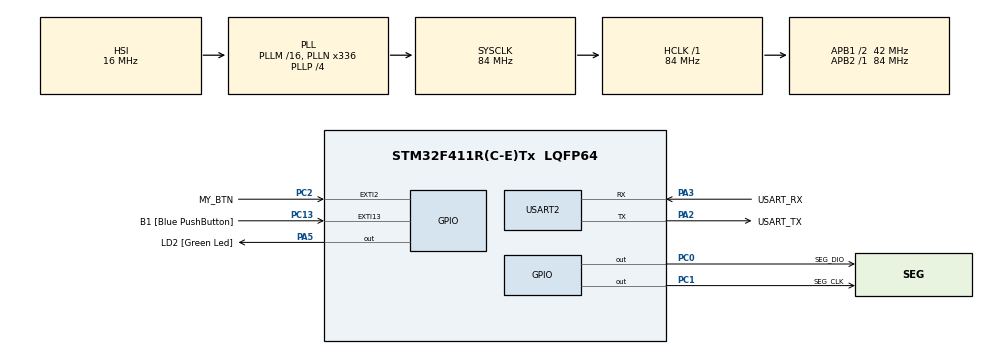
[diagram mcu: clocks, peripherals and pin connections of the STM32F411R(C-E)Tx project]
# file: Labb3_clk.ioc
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Mcu.Family=STM32F4
Mcu.Name=STM32F411R(C-E)Tx
Mcu.Package=LQFP64
NVIC.EXTI15_10_IRQn=true\:0\:0\:false\:false\:true\:true\:true\:true
NVIC.EXTI2_IRQn=true\:0\:0\:false\:false\:true\:true\:true\:true
NVIC.PriorityGroup=NVIC_PRIORITYGROUP_0
NVIC.TIM3_IRQn=true\:0\:0\:false\:false\:true\:true\:true\:true
PA13.GPIO_Label=TMS
PA13.Mode=Serial_Wire
PA13.Signal=SYS_JTMS-SWDIO
PA14.GPIO_Label=TCK
PA14.Mode=Serial_Wire
PA14.Signal=SYS_JTCK-SWCLK
PA2.GPIO_Label=USART_TX
PA2.Mode=Asynchronous
PA2.Signal=USART2_TX
PA3.GPIO_Label=USART_RX
PA3.Mode=Asynchronous
PA3.Signal=USART2_RX
PA5.GPIO_Label=LD2 [Green Led]
PA5.Signal=GPIO_Output
PB3.GPIO_Label=SWO
PB3.Signal=SYS_JTDO-SWO
PC0.GPIO_Label=SEG_DIO
PC0.GPIO_ModeDefaultOutputPP=GPIO_MODE_OUTPUT_OD
PC0.GPIO_PuPd=GPIO_NOPULL
PC0.Signal=GPIO_Output
PC1.GPIO_Label=SEG_CLK
PC1.GPIO_ModeDefaultOutputPP=GPIO_MODE_OUTPUT_OD
PC1.GPIO_PuPd=GPIO_NOPULL
PC1.Signal=GPIO_Output
PC13-ANTI_TAMP.GPIO_Label=B1 [Blue PushButton]
PC13-ANTI_TAMP.GPIO_ModeDefaultEXTI=GPIO_MODE_IT_FALLING
PC13-ANTI_TAMP.Signal=GPXTI13
PC14-OSC32_IN.Mode=LSE-External-Oscillator
PC14-OSC32_IN.Signal=RCC_OSC32_IN
PC15-OSC32_OUT.Mode=LSE-External-Oscillator
PC15-OSC32_OUT.Signal=RCC_OSC32_OUT
PC2.GPIO_Label=MY_BTN
PC2.GPIO_ModeDefaultEXTI=GPIO_MODE_IT_FALLING
PC2.GPIO_PuPd=GPIO_NOPULL
PC2.Signal=GPXTI2
PH0\ -\ OSC_IN.Mode=HSE-External-Clock-Source
PH0\ -\ OSC_IN.Signal=RCC_OSC_IN
PH1\ -\ OSC_OUT.Mode=HSE-External-Clock-Source
PH1\ -\ OSC_OUT.Signal=RCC_OSC_OUT
ProjectManager.HeapSize=0x200
ProjectManager.StackSize=0x400
ProjectManager.TargetToolchain=STM32CubeIDE
RCC.48MHZClocksFreq_Value=84000000
RCC.AHBFreq_Value=84000000
RCC.APB1CLKDivider=RCC_HCLK_DIV2
RCC.APB1Freq_Value=42000000
RCC.APB1TimFreq_Value=84000000
RCC.APB2Freq_Value=84000000
RCC.APB2TimFreq_Value=84000000
RCC.CortexFreq_Value=84000000
RCC.FLatency-AdvancedSettings=FLASH_LATENCY_2
RCC.HCLKFreq_Value=84000000
RCC.HSE_VALUE=8000000
RCC.HSI_VALUE=16000000
RCC.PLLN=336
RCC.PLLP=RCC_PLLP_DIV4
RCC.SYSCLKFreq_VALUE=84000000
RCC.SYSCLKSource=RCC_SYSCLKSOURCE_PLLCLK
RCC.VCOOutputFreq_Value=336000000
TIM3.Period=42000-1
TIM3.Prescaler=1000-1
USART2.VirtualMode=VM_ASYNC
VP_TIM3_VS_ClockSourceINT.Mode=Internal
board=NUCLEO-F411RE

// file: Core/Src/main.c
/* USER CODE BEGIN Header */
/**
  ******************************************************************************
  * @file           : main.c
  * @brief          : Main program body
  ******************************************************************************
  * @attention
  *
  * Copyright (c) 2023 STMicroelectronics.
  * All rights reserved.
  *
  * This software is licensed under terms that can be found in the LICENSE file
  * in the root directory of this software component.
  * If no LICENSE file comes with this software, it is provided AS-IS.
  *
  ******************************************************************************
  */
/* USER CODE END Header */
#include "main.h"

/* USER CODE BEGIN Includes */
#include <stdio.h>
#include <string.h>
#include "quad_sseg.h"
#include <stdbool.h>
/* USER CODE END Includes */

TIM_HandleTypeDef htim3;

UART_HandleTypeDef huart2;

/* USER CODE BEGIN PV */
// Function prototypes
void updateClock();
void updateDisplay();
void handleRollovers();

uint16_t button_exti_count;
uint16_t button_debounced_count;
uint16_t unhandled_exti;

uint8_t hours = 23;
uint8_t minutes = 59;
uint8_t seconds = 23;

int display_hours_minutes = 0; // Flag for display mode (0: MM:SS, 1 HH:MM)

//Time counter
//uint16_t timeCounter = 0;

//Flag for colon blinking
uint8_t colonOn = 0;
uint8_t hoursTens ;       // Hours (24-hour format)
uint8_t hoursOnes;
uint8_t minutesTens ;   // Minutes (modulo 60)
uint8_t minutesOnes ;
uint8_t secondsTens;   // Seconds (modulo 60)
uint8_t secondsOnes ;

TIM_HandleTypeDef htm;
/* USER CODE END PV */

void SystemClock_Config(void);
static void MX_GPIO_Init(void);
static void MX_USART2_UART_Init(void);
static void MX_TIM3_Init(void);

/* USER CODE BEGIN 0 */

void uart_print_menu(){
	    char menu_str[100];

	    sprintf(menu_str,
            "Choose the menu:\r\n"
	    	"1. Clock mode:\r\n"
	        "2. Button mode:\r\n");

	    HAL_UART_Transmit(&huart2, (uint8_t*) menu_str, strlen(menu_str), HAL_MAX_DELAY);
}

int uart_get_menu_choice()
{
	char str[1];
	uint16_t str_len = 1;
	HAL_UART_Receive(&huart2,(uint8_t *) str, str_len,HAL_MAX_DELAY);
	int ret = -1;
	sscanf(str, "%d", &ret);

	return ret;
}

void uart_print_bad_choice()
{
	char bad_choice_str[]="Felaktig inmatning. Vänligen välj ett giltigt alternativ 1 eller 2.\r\n";
	HAL_UART_Transmit(&huart2, (uint8_t*)bad_choice_str, sizeof(bad_choice_str) - 1, HAL_MAX_DELAY);
}

void clock_mode()
{
	/*** init segment ***/
	/*** main loop ***/
	HAL_TIM_Base_Start_IT(&htim3);

	 hours = 23;
	 minutes = 59;
	 seconds = 45;

	while (1)
	{
		 // Update your clock variables based on TIM3 interrupts
		        // ...

		// Check if the blue button is held down to switch display mode
		if(GPIO_PIN_RESET == HAL_GPIO_ReadPin(B1_GPIO_Port, B1_Pin)){
			display_hours_minutes = 1;   //Swithch to HH:MM
		}
		else{
			display_hours_minutes = 0; // Back to MM:SS mode
		}
		updateDisplay();

	}
}

void button_mode()
{
	/*** init segment ***/

	/*** main loop ***/

	int b1_pressed;
	int pressed;
	while (1)
	{
		/* deal with debouncing the button... */

		// check b1 button (on board, active low)
		b1_pressed = GPIO_PIN_RESET== HAL_GPIO_ReadPin(B1_GPIO_Port, B1_Pin);

		if (unhandled_exti) // was set in interrupt
		{
			uint16_t BOUNCE_DELAY_MS = 10;
			HAL_Delay(BOUNCE_DELAY_MS); // value measured by probing
			pressed = GPIO_PIN_RESET == HAL_GPIO_ReadPin(MY_BTN_GPIO_Port, MY_BTN_Pin);
				if (pressed)
				{
					button_debounced_count++;

				}
			unhandled_exti = 0;
		}

		if(b1_pressed){
			qs_put_big_num(button_exti_count, 0);

		}
		else{
			qs_put_big_num(button_debounced_count, 0);

		}
	}

}

//#define MY_BTN_Pin GPIO_PIN_2
//#define MY_BTN_GPIO_Port GPIOC

void HAL_GPIO_EXTI_Callback( uint16_t GPIO_Pin )
{
	if(GPIO_Pin ==  MY_BTN_Pin)
	{
		button_exti_count++;
		unhandled_exti = 1;
	}

}

void HAL_TIM_PeriodElapsedCallback(TIM_HandleTypeDef *htim)
{

	if(htim->Instance == TIM3){
		//This function will be called every half-second
		// Update your clock variables here
		//...
		colonOn = !colonOn;
		if(colonOn == 1){
		seconds++;
		}
	}
}

void updateClock(){
	//seconds++;        //Incriment seconds
	handleRollovers();  // Handle rollovers
}

//Function to hanle rollovers

void handleRollovers()
{
	if(seconds >= 60)
	{
		seconds = 0;
		minutes++;
		if(minutes >= 60)
		{
			minutes = 0;
			hours++;
			if(hours >= 24)
			{
				hours = 0;
			}
		}
	}
}

void updateDisplay()
{
	// Toggle colon every half seconde

	// Detrmain whether to diplay HH:MM or MM:SS
	updateClock();

	 hoursTens = (hours % 24) / 10;       // Hours (24-hour format)
	 hoursOnes = (hours % 24) % 10;
	 minutesTens = (minutes % 60) / 10;   // Minutes (modulo 60)
	 minutesOnes = (minutes % 60) % 10;
	 secondsTens = (seconds % 60) / 10;   // Seconds (modulo 60)
	 secondsOnes = (seconds % 60) % 10;

	if(display_hours_minutes)
	{
		//qs_put_big_num((uint16_t)(hours * 100 + minutes), colonOn);
        qs_put_digits(hoursTens, hoursOnes, minutesTens, minutesOnes, colonOn);
	}
	else
	{
		//qs_put_big_num((uint16_t)(hours * 100 + minutes), colonOn);
        qs_put_digits(minutesTens, minutesOnes, secondsTens, secondsOnes, colonOn);
	}
}

/* USER CODE END 0 */

int main(void)
{

  /* MCU Configuration--------------------------------------------------------*/

  /* Reset of all peripherals, Initializes the Flash interface and the Systick. */
  HAL_Init();

  /* Configure the system clock */
  SystemClock_Config();

  /* Initialize all configured peripherals */
  MX_GPIO_Init();
  MX_USART2_UART_Init();
  MX_TIM3_Init();

  /* Infinite loop */
  /* USER CODE BEGIN WHILE */
  while (1)
  {

	  uart_print_menu();
	  int menu_choice = uart_get_menu_choice();
	  {
		  switch (menu_choice)
			  {
			  case 1:
				  clock_mode();
			  break;
			  case 2:
				  button_mode();
			  break;
			  default: uart_print_bad_choice();
			  break;
			  }
	    }

    /* USER CODE END WHILE */

  }
}

void SystemClock_Config(void)
{
  RCC_OscInitTypeDef RCC_OscInitStruct = {0};
  RCC_ClkInitTypeDef RCC_ClkInitStruct = {0};

  /** Configure the main internal regulator output voltage
  */
  __HAL_RCC_PWR_CLK_ENABLE();
  __HAL_PWR_VOLTAGESCALING_CONFIG(PWR_REGULATOR_VOLTAGE_SCALE1);

  /** Initializes the RCC Oscillators according to the specified parameters
  * in the RCC_OscInitTypeDef structure.
  */
  RCC_OscInitStruct.OscillatorType = RCC_OSCILLATORTYPE_HSI;
  RCC_OscInitStruct.HSIState = RCC_HSI_ON;
  RCC_OscInitStruct.HSICalibrationValue = RCC_HSICALIBRATION_DEFAULT;
  RCC_OscInitStruct.PLL.PLLState = RCC_PLL_ON;
  RCC_OscInitStruct.PLL.PLLSource = RCC_PLLSOURCE_HSI;
  RCC_OscInitStruct.PLL.PLLM = 16;
  RCC_OscInitStruct.PLL.PLLN = 336;
  RCC_OscInitStruct.PLL.PLLP = RCC_PLLP_DIV4;
  RCC_OscInitStruct.PLL.PLLQ = 4;
  if (HAL_RCC_OscConfig(&RCC_OscInitStruct) != HAL_OK)
  {
    Error_Handler();
  }

  /** Initializes the CPU, AHB and APB buses clocks
  */
  RCC_ClkInitStruct.ClockType = RCC_CLOCKTYPE_HCLK|RCC_CLOCKTYPE_SYSCLK
                              |RCC_CLOCKTYPE_PCLK1|RCC_CLOCKTYPE_PCLK2;
  RCC_ClkInitStruct.SYSCLKSource = RCC_SYSCLKSOURCE_PLLCLK;
  RCC_ClkInitStruct.AHBCLKDivider = RCC_SYSCLK_DIV1;
  RCC_ClkInitStruct.APB1CLKDivider = RCC_HCLK_DIV2;
  RCC_ClkInitStruct.APB2CLKDivider = RCC_HCLK_DIV1;

  if (HAL_RCC_ClockConfig(&RCC_ClkInitStruct, FLASH_LATENCY_2) != HAL_OK)
  {
    Error_Handler();
  }
}

static void MX_TIM3_Init(void)
{

  TIM_ClockConfigTypeDef sClockSourceConfig = {0};
  TIM_MasterConfigTypeDef sMasterConfig = {0};

  htim3.Instance = TIM3;
  htim3.Init.Prescaler = 1000-1;
  htim3.Init.CounterMode = TIM_COUNTERMODE_UP;
  htim3.Init.Period = 42000-1;
  htim3.Init.ClockDivision = TIM_CLOCKDIVISION_DIV1;
  htim3.Init.AutoReloadPreload = TIM_AUTORELOAD_PRELOAD_DISABLE;
  if (HAL_TIM_Base_Init(&htim3) != HAL_OK)
  {
    Error_Handler();
  }
  sClockSourceConfig.ClockSource = TIM_CLOCKSOURCE_INTERNAL;
  if (HAL_TIM_ConfigClockSource(&htim3, &sClockSourceConfig) != HAL_OK)
  {
    Error_Handler();
  }
  sMasterConfig.MasterOutputTrigger = TIM_TRGO_RESET;
  sMasterConfig.MasterSlaveMode = TIM_MASTERSLAVEMODE_DISABLE;
  if (HAL_TIMEx_MasterConfigSynchronization(&htim3, &sMasterConfig) != HAL_OK)
  {
    Error_Handler();
  }

}

static void MX_USART2_UART_Init(void)
{

  huart2.Instance = USART2;
  huart2.Init.BaudRate = 115200;
  huart2.Init.WordLength = UART_WORDLENGTH_8B;
  huart2.Init.StopBits = UART_STOPBITS_1;
  huart2.Init.Parity = UART_PARITY_NONE;
  huart2.Init.Mode = UART_MODE_TX_RX;
  huart2.Init.HwFlowCtl = UART_HWCONTROL_NONE;
  huart2.Init.OverSampling = UART_OVERSAMPLING_16;
  if (HAL_UART_Init(&huart2) != HAL_OK)
  {
    Error_Handler();
  }

}

static void MX_GPIO_Init(void)
{
  GPIO_InitTypeDef GPIO_InitStruct = {0};

  /* GPIO Ports Clock Enable */
  __HAL_RCC_GPIOC_CLK_ENABLE();
  __HAL_RCC_GPIOH_CLK_ENABLE();
  __HAL_RCC_GPIOA_CLK_ENABLE();
  __HAL_RCC_GPIOB_CLK_ENABLE();

  /*Configure GPIO pin Output Level */
  HAL_GPIO_WritePin(GPIOC, SEG_DIO_Pin|SEG_CLK_Pin, GPIO_PIN_RESET);

  /*Configure GPIO pin Output Level */
  HAL_GPIO_WritePin(LD2_GPIO_Port, LD2_Pin, GPIO_PIN_RESET);

  /*Configure GPIO pins : B1_Pin MY_BTN_Pin */
  GPIO_InitStruct.Pin = B1_Pin|MY_BTN_Pin;
  GPIO_InitStruct.Mode = GPIO_MODE_IT_FALLING;
  GPIO_InitStruct.Pull = GPIO_NOPULL;
  HAL_GPIO_Init(GPIOC, &GPIO_InitStruct);

  /*Configure GPIO pins : SEG_DIO_Pin SEG_CLK_Pin */
  GPIO_InitStruct.Pin = SEG_DIO_Pin|SEG_CLK_Pin;
  GPIO_InitStruct.Mode = GPIO_MODE_OUTPUT_OD;
  GPIO_InitStruct.Pull = GPIO_NOPULL;
  GPIO_InitStruct.Speed = GPIO_SPEED_FREQ_LOW;
  HAL_GPIO_Init(GPIOC, &GPIO_InitStruct);

  /*Configure GPIO pin : LD2_Pin */
  GPIO_InitStruct.Pin = LD2_Pin;
  GPIO_InitStruct.Mode = GPIO_MODE_OUTPUT_PP;
  GPIO_InitStruct.Pull = GPIO_NOPULL;
  GPIO_InitStruct.Speed = GPIO_SPEED_FREQ_LOW;
  HAL_GPIO_Init(LD2_GPIO_Port, &GPIO_InitStruct);

  /* EXTI interrupt init*/
  HAL_NVIC_SetPriority(EXTI2_IRQn, 0, 0);
  HAL_NVIC_EnableIRQ(EXTI2_IRQn);

  HAL_NVIC_SetPriority(EXTI15_10_IRQn, 0, 0);
  HAL_NVIC_EnableIRQ(EXTI15_10_IRQn);

}

void Error_Handler(void)
{
  __disable_irq();
  while (1)
  {
  }
}
